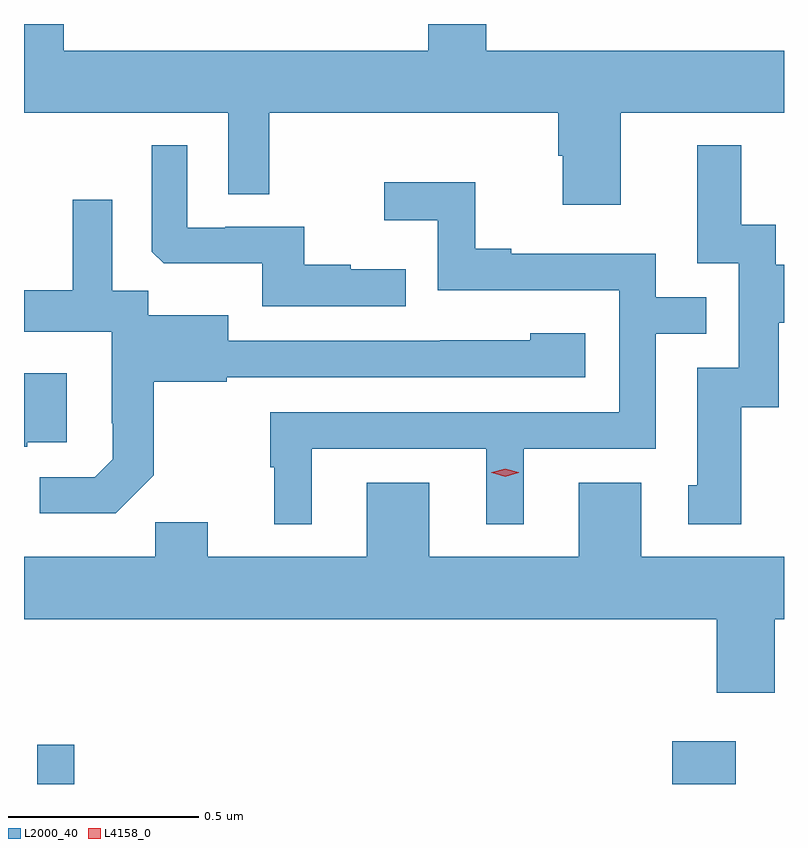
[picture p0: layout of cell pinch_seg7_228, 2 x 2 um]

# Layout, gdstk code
import gdstk
lib = gdstk.Library(unit=1e-6, precision=1e-09)
def R(c, l, rs):  # rectangles x0, y0, x1, y1
    for r in rs: c.add(gdstk.rectangle(r[:2], r[2:], *l))
def P(c, l, *ps):  # polygons
    for p in ps: c.add(gdstk.Polygon(p, *l))
L2000_40 = (2000, 40)
L4158_0 = (4158, 0)

pinch_seg7_228 = lib.new_cell('pinch_seg7_228')
R(pinch_seg7_228, L2000_40, [(729.998,1030.818,730.095,1030.921), (731.669,1030.818,731.836,1030.93)])
P(pinch_seg7_228, L2000_40, [(731.533,1032.584),(731.963,1032.584),(731.963,1032.748),(731.18,1032.748),(731.18,1032.818),(731.027,1032.818),(731.027,1032.748),(730.067,1032.748),(730.067,1032.818),(729.963,1032.818),(729.963,1032.584),(730.5,1032.584),(730.5,1032.37),(730.609,1032.37),(730.609,1032.584),(731.369,1032.584),(731.369,1032.471),(731.381,1032.471),(731.381,1032.342),(731.533,1032.342)],
  [(730.967,1032.172),(730.823,1032.172),(730.823,1032.184),(730.7,1032.184),(730.7,1032.285),(730.492,1032.285),(730.492,1032.282),(730.392,1032.282),(730.392,1032.499),(730.299,1032.499),(730.299,1032.219),(730.331,1032.188),(730.59,1032.188),(730.59,1032.075),(730.967,1032.075)],
  [(731.851,1031.81),(731.949,1031.81),(731.949,1032.032),(731.963,1032.032),(731.963,1032.184),(731.941,1032.184),(731.941,1032.29),(731.851,1032.29),(731.851,1032.499),(731.735,1032.499),(731.735,1032.189),(731.844,1032.189),(731.844,1031.913),(731.735,1031.913),(731.735,1031.604),(731.711,1031.604),(731.711,1031.502),(731.851,1031.502)],
  [(730.72,1031.7),(731.18,1031.7),(731.18,1031.501),(731.278,1031.501),(731.278,1031.7),(731.625,1031.7),(731.625,1032.003),(731.759,1032.003),(731.759,1032.099),(731.625,1032.099),(731.625,1032.213),(731.245,1032.213),(731.245,1032.226),(731.151,1032.226),(731.151,1032.401),(730.911,1032.401),(730.911,1032.302),(731.052,1032.302),(731.052,1032.117),(731.529,1032.117),(731.529,1031.796),(730.611,1031.796),(730.611,1031.652),(730.622,1031.652),(730.622,1031.501),(730.72,1031.501)],
  [(730.305,1031.631),(730.305,1031.877),(730.497,1031.877),(730.497,1031.889),(731.44,1031.889),(731.44,1032.004),(731.295,1032.004),(731.295,1031.986),(731.059,1031.986),(731.059,1031.985),(730.501,1031.985),(730.501,1032.052),(730.29,1032.052),(730.29,1032.116),(730.195,1032.116),(730.195,1032.355),(730.091,1032.355),(730.091,1032.118),(729.963,1032.118),(729.963,1032.008),(730.194,1032.008),(730.194,1031.767),(730.196,1031.767),(730.196,1031.672),(730.149,1031.625),(730.005,1031.625),(730.005,1031.531),(730.205,1031.531)],
  [(729.971,1031.718),(730.075,1031.718),(730.075,1031.899),(729.963,1031.899),(729.963,1031.706),(729.971,1031.706)],
  [(731.938,1031.252),(731.963,1031.252),(731.963,1031.416),(731.587,1031.416),(731.587,1031.611),(731.423,1031.611),(731.423,1031.416),(731.029,1031.416),(731.029,1031.611),(730.865,1031.611),(730.865,1031.416),(730.447,1031.416),(730.447,1031.507),(730.309,1031.507),(730.309,1031.416),(729.963,1031.416),(729.963,1031.252),(731.786,1031.252),(731.786,1031.058),(731.938,1031.058)])
P(pinch_seg7_228, L4158_0, [(731.229,1031.627),(731.194,1031.637),(731.193,1031.637),(731.194,1031.638),(731.229,1031.647),(731.265,1031.638),(731.265,1031.637),(731.265,1031.637)])

lib.write_gds('pinch_seg7_228.gds')
